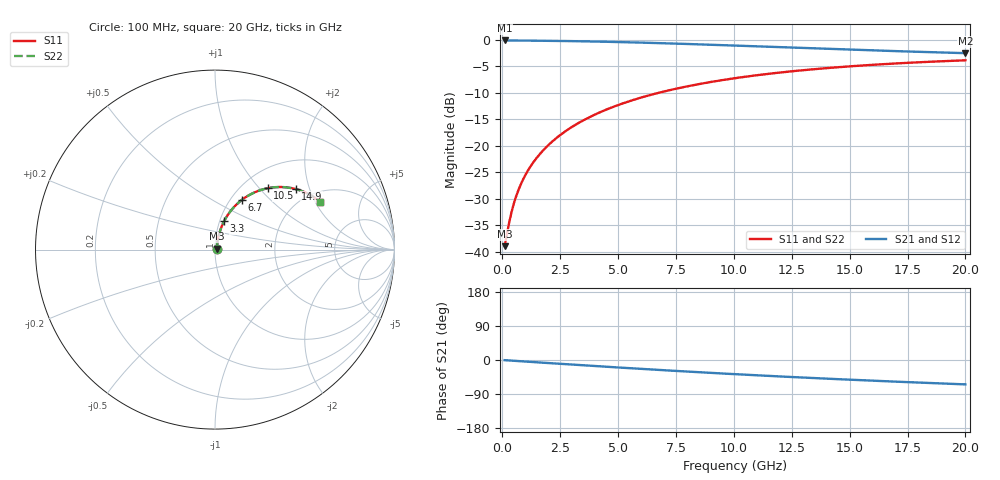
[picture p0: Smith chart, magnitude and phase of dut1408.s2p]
! Touchstone file exported from HFSS 2026.1.0
!  File:  C:/ffzhzh/LocalFiles/Ansys_Project_Files/temp_train_BSMRDL_1408_1783179979_22436.aedt
!  Generated:  11:47:43 PM Jul  4, 2026
!  Design:  BSMRDL
!  Project:  temp_train_BSMRDL_1408_1783179979_22436
! Variables:
!  h_bsmrdl = 2.01um
!  h_ox = 20um
!  h_rdl = 5um
!  h_sub = 80um
!  h_tmrdl = 5um
!  h_tsv = 80um
!  h_via = 3um
!  l_bsmrdl = 934.96um
!  l_sub = 1334.96um
!  l_tmrdl = 200um
!  m_sub = 200um
!  pitch = 59.5um
!  r_tsv = 6um
!  s_tmrdl = 10um
!  w_bsmrdl = 16.56um
!  w_sub = 500um
!  w_tmrdl = 12um
!  x_tsv_center1 = 206um
!  x_tsv_center2 = 1157.52um
!  x_tsv_center3 = 1369.52um
!  x_tsv_center4 = 2321.04um
!  x_tsv_center5 = 2533.04um
!  x_tsv_center6 = 3484.56um
# GHz S MA R 50.000000
! Terminal data exported
! Port[1] = BSM_RDL1_1_T1
! Port[2] = BSM_RDL1_1_T2
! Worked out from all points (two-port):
!   200 points, 100 MHz to 20 GHz, reference 50 ohm
!   highest |S21| = -0.09 dB at 100 MHz (marker M1); lowest = -2.5 dB at 20 GHz (marker M2)
!   |S21| within 3 dB of the highest: start of sweep to end of sweep
!   lowest |S11| = -38.9 dB at 100 MHz (marker M3), VSWR 1.02, Z = 51 + j0.544 ohm
!   |S11| at or under -10 dB: start of sweep to 6.725 GHz
!   |S22| runs from -38.9 to -3.8 dB; largest |S21 - S12| = 1.6e-14
!   S11 on the Smith chart (normalised r, x): 100 MHz: 1.02, +0.01; 3.3 GHz: 1.05, +0.34; 6.7 GHz: 1.13, +0.69; 10.5 GHz: 1.29, +1.11; 14.9 GHz: 1.64, +1.62; 20 GHz: 2.41, +2.19
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0.1  0.01133 28.1  0.99 -0.4  0.99 -0.4  0.01133 28.1
! Gamma 0 0 0 0
! Port Impedance 50 0 50 0
0.3  0.01909 56.4  0.9896 -1.3  0.9896 -1.3  0.01909 56.4
0.4  0.0238 62.4  0.9894 -1.7  0.9894 -1.7  0.0238 62.4
0.5  0.02867 66.2  0.989 -2.1  0.989 -2.1  0.02867 66.1
0.6  0.0336 68.7  0.9886 -2.5  0.9886 -2.5  0.0336 68.7
0.8  0.04349 71.7  0.9879 -3.3  0.9879 -3.3  0.04349 71.7
1.1  0.05829 73.9  0.9866 -4.5  0.9866 -4.5  0.05829 73.9
1.5  0.07794 74.9  0.9848 -6.1  0.9848 -6.1  0.07794 74.9
2  0.1024 74.9  0.9823 -8.1  0.9823 -8.1  0.1024 74.9
2.6  0.1315 74.0  0.9786 -10.5  0.9786 -10.5  0.1315 74.0
3.3  0.165 72.3  0.9734 -13.2  0.9734 -13.2  0.165 72.3
3.5  0.1745 71.8  0.9717 -14.0  0.9717 -14.0  0.1745 71.7
4.9  0.2387 67.5  0.9578 -19.3  0.9578 -19.3  0.2387 67.5
6.7  0.3152 61.6  0.9355 -26.0  0.9355 -26.0  0.3152 61.5
6.8  0.3193 61.2  0.9341 -26.3  0.9341 -26.3  0.3193 61.2
8.3  0.3766 56.3  0.9126 -31.6  0.9126 -31.6  0.3766 56.3
10.1  0.4378 50.7  0.8851 -37.5  0.8851 -37.5  0.4378 50.6
10.5  0.4502 49.4  0.8789 -38.8  0.8789 -38.8  0.4502 49.4
13.4  0.5288 41.0  0.8345 -47.5  0.8345 -47.5  0.5288 40.9
14.9  0.5619 36.9  0.8129 -51.7  0.8129 -51.7  0.5619 36.8
16.7  0.5957 32.3  0.7889 -56.4  0.7889 -56.4  0.5958 32.2
20  0.6432 24.5  0.7514 -64.4  0.7514 -64.4  0.6433 24.4
